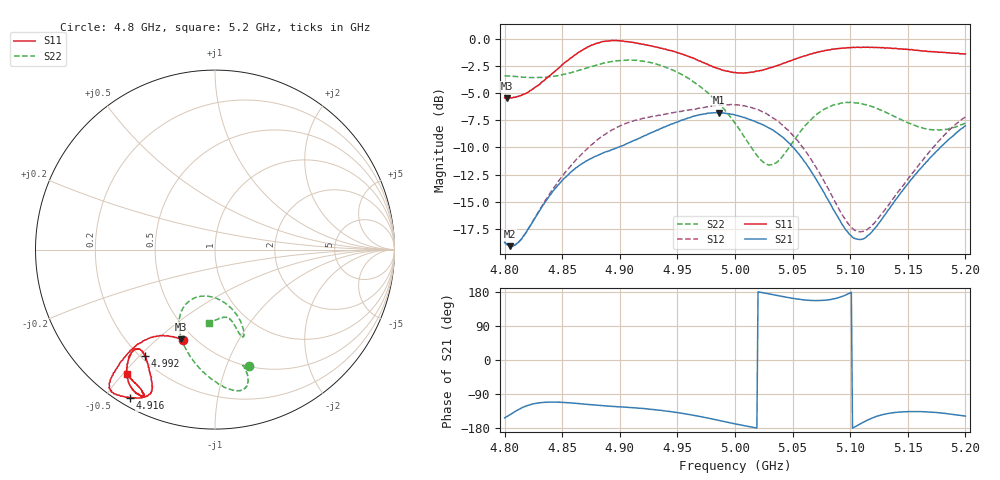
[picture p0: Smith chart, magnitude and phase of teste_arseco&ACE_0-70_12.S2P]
! Network Analyzer HP8722D
! Hewlett-Packard
! Data name: Linha & Wilkinson
! Saver's name: Rodrigo Anjos
! Comments: Teste da utilização de aquisição
! continua pelo VNA HP8722D
! Time and date: 8/5/2025 12:51
!  Frequency  S11  S21  S12  S22
# HZ  S  MA R 50
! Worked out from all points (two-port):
!   401 points, 4.8 GHz to 5.2 GHz, reference 50 ohm
!   highest |S21| = -6.80 dB at 4.986 GHz (marker M1); lowest = -19.1 dB at 4.805 GHz (marker M2)
!   |S21| within 3 dB of the highest: 4.903 GHz to 5.049 GHz (145.3 MHz wide, 2.92 % of centre); 5.180085 GHz to end of sweep
!   lowest |S11| = -5.5 dB at 4.802 GHz (marker M3), VSWR 3.28, Z = 21.6 - j30.1 ohm
!   |S11| at or under -10 dB: nowhere
!   |S22| runs from -11.6 to -2.0 dB; largest |S21 - S12| = 0.58
!   S11 on the Smith chart (normalised r, x): 4.8 GHz: 0.44, -0.62; 4.916 GHz: 0.03, -0.58; 4.992 GHz: 0.22, -0.52; 5.2 GHz: 0.10, -0.51
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4.8e9  0.5346 -109.2  0.1159 -152.9  0.1163 -96.6  0.6752 -73.6
4.802e9  0.5332 -110.6  0.1132 -149.2  0.1135 -92.8  0.6733 -73.7
4.805e9  0.5356 -112.7  0.1113 -143.8  0.1115 -86.9  0.6743 -74.2
4.815e9  0.5508 -119.2  0.1207 -126.2  0.1207 -68.6  0.6654 -75.3
4.833e9  0.6359 -127.7  0.1708 -112.0  0.1724 -52.2  0.664 -76.4
4.867e9  0.8847 -129.3  0.2662 -115.8  0.2953 -49.6  0.7226 -75.4
4.887e9  0.9727 -127.1  0.3008 -121.0  0.3622 -53.9  0.7734 -76.4
4.916e9  0.9525 -119.9  0.3473 -127.2  0.4249 -62.7  0.7933 -81.9
4.934e9  0.91 -115.4  0.3831 -132.6  0.4457 -68.0  0.7573 -87.4
4.955e9  0.8474 -114.4  0.4236 -141.2  0.4654 -74.4  0.6783 -96.1
4.986e9  0.7279 -121.5  0.4573 -159.5  0.4935 -87.0  0.503 -112.8
4.992e9  0.7097 -123.4  0.4534 -163.4  0.4974 -89.8  0.4632 -115.6
5e9  0.7007 -125.2  0.4459 -168.5  0.4965 -94.4  0.4094 -118.2
5.017e9  0.7057 -128.0  0.4174 -178.4  0.4771 -104.5  0.3007 -114.3
5.031e9  0.7358 -129.1  0.3854 173.6  0.4397 -113.1  0.2633 -96.9
5.048e9  0.7907 -127.9  0.3275 163.8  0.3707 -121.5  0.3222 -76.5
5.067e9  0.8527 -125.0  0.2416 157.2  0.2746 -127.1  0.4301 -70.4
5.104e9  0.9104 -118.6  0.1207 -176.6  0.1317 -99.1  0.5069 -72.7
5.116e9  0.914 -117.0  0.1254 -157.3  0.1345 -78.6  0.492 -73.6
5.134e9  0.9068 -116.1  0.1652 -140.6  0.1741 -59.7  0.451 -74.9
5.169e9  0.8725 -119.2  0.282 -137.2  0.3033 -51.4  0.3822 -80.7
5.2e9  0.8508 -125.4  0.3975 -148.2  0.4375 -60.7  0.4091 -94.3
